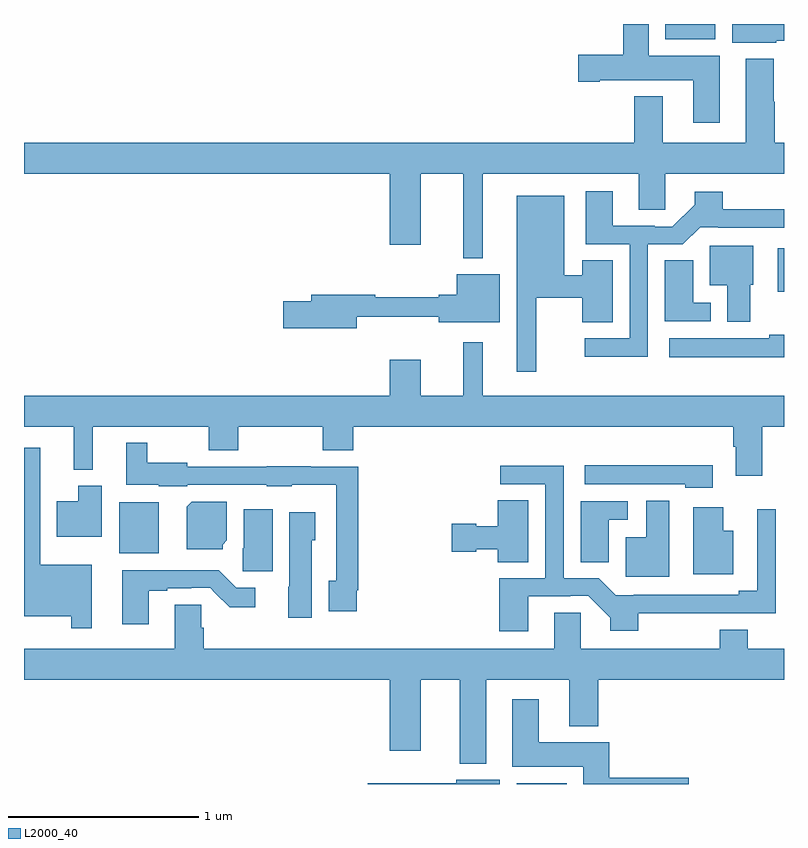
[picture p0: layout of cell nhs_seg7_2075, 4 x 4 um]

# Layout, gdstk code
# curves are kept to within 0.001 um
import gdstk
lib = gdstk.Library(unit=1e-6, precision=1e-09)
def R(c, l, rs):  # rectangles x0, y0, x1, y1
    for r in rs: c.add(gdstk.rectangle(r[:2], r[2:], *l))
def P(c, l, *ps):  # polygons
    for p in ps: c.add(gdstk.Polygon(p, *l))
L2000_40 = (2000, 40)

nhs_seg7_2075 = lib.new_cell('nhs_seg7_2075')
R(nhs_seg7_2075, L2000_40, [(249.593,1068,249.856,1068.004), (247.502,1069.214,247.708,1069.484), (250.967,1070.591,251,1070.821), (250.376,1071.92,250.639,1072)])
P(nhs_seg7_2075, L2000_40, [(250.663,1071.832),(250.288,1071.832),(250.288,1072),(250.154,1072),(250.154,1071.839),(249.918,1071.839),(249.918,1071.697),(250.03,1071.697),(250.03,1071.704),(250.523,1071.704),(250.523,1071.48),(250.663,1071.48)],
  [(250.96,1071.913),(251,1071.913),(251,1072),(250.727,1072),(250.727,1071.902),(250.96,1071.902)],
  [(250.235,1071.022),(250.374,1071.022),(250.374,1071.212),(251,1071.212),(251,1071.376),(250.952,1071.376),(250.952,1071.591),(250.947,1071.591),(250.947,1071.817),(250.799,1071.817),(250.799,1071.376),(250.363,1071.376),(250.363,1071.619),(250.211,1071.619),(250.211,1071.376),(247,1071.376),(247,1071.212),(248.924,1071.212),(248.924,1070.838),(249.088,1070.838),(249.088,1071.212),(249.311,1071.212),(249.311,1070.768),(249.415,1070.768),(249.415,1071.212),(250.235,1071.212)],
  [(250.284,1070.841),(250.468,1070.841),(250.558,1070.931),(250.654,1070.931),(250.654,1070.928),(251,1070.928),(251,1071.026),(250.677,1071.026),(250.677,1071.118),(250.529,1071.118),(250.529,1071.05),(250.413,1070.934),(250.319,1070.934),(250.319,1070.937),(250.099,1070.937),(250.099,1071.121),(249.956,1071.121),(249.956,1070.841),(250.188,1070.841),(250.188,1070.346),(249.951,1070.346),(249.951,1070.249),(250.284,1070.249)],
  [(249.697,1070.56),(249.938,1070.56),(249.938,1070.431),(250.099,1070.431),(250.099,1070.756),(249.938,1070.756),(249.938,1070.677),(249.844,1070.677),(249.844,1071.097),(249.593,1071.097),(249.593,1070.169),(249.697,1070.169)],
  [(250.822,1070.628),(250.837,1070.628),(250.837,1070.833),(250.61,1070.833),(250.61,1070.624),(250.7,1070.624),(250.7,1070.432),(250.822,1070.432)],
  [(250.615,1070.532),(250.522,1070.532),(250.522,1070.756),(250.373,1070.756),(250.373,1070.436),(250.615,1070.436)],
  [(248.752,1070.458),(249.182,1070.458),(249.182,1070.429),(249.505,1070.429),(249.505,1070.683),(249.278,1070.683),(249.278,1070.576),(249.182,1070.576),(249.182,1070.561),(248.848,1070.561),(248.848,1070.576),(248.513,1070.576),(248.513,1070.54),(248.364,1070.54),(248.364,1070.398),(248.752,1070.398)],
  [(251,1070.365),(250.923,1070.365),(250.923,1070.347),(250.395,1070.347),(250.395,1070.246),(251,1070.246)],
  [(250.885,1069.88),(251,1069.88),(251,1070.044),(249.415,1070.044),(249.415,1070.326),(249.311,1070.326),(249.311,1070.044),(249.088,1070.044),(249.088,1070.233),(248.924,1070.233),(248.924,1070.044),(247,1070.044),(247,1069.88),(247.262,1069.88),(247.262,1069.655),(247.361,1069.655),(247.361,1069.88),(247.972,1069.88),(247.972,1069.756),(248.127,1069.756),(248.127,1069.88),(248.572,1069.88),(248.572,1069.756),(248.732,1069.756),(248.732,1069.88),(250.733,1069.88),(250.733,1069.774),(250.745,1069.774),(250.745,1069.623),(250.885,1069.623)],
  [(248.752,1069.021),(248.759,1069.021),(248.759,1069.671),(248.509,1069.671),(248.509,1069.673),(248.277,1069.673),(248.277,1069.671),(247.86,1069.671),(247.86,1069.69),(247.648,1069.69),(247.648,1069.795),(247.538,1069.795),(247.538,1069.574),(247.71,1069.574),(247.71,1069.568),(247.86,1069.568),(247.86,1069.575),(248.277,1069.575),(248.277,1069.568),(248.409,1069.568),(248.409,1069.574),(248.643,1069.574),(248.643,1069.07),(248.603,1069.07),(248.603,1068.909),(248.752,1068.909)],
  [(247.356,1069.153),(247.085,1069.153),(247.085,1069.771),(247,1069.771),(247,1068.884),(247.248,1068.884),(247.248,1068.819),(247.356,1068.819)],
  [(250.624,1069.678),(249.951,1069.678),(249.951,1069.577),(250.479,1069.577),(250.479,1069.559),(250.624,1069.559)],
  [(249.655,1068.987),(249.875,1068.987),(249.875,1068.99),(249.969,1068.99),(250.085,1068.874),(250.085,1068.806),(250.233,1068.806),(250.233,1068.899),(250.956,1068.9),(250.956,1069.447),(250.86,1069.447),(250.86,1069.016),(250.763,1069.016),(250.763,1068.996),(250.21,1068.996),(250.21,1068.993),(250.114,1068.993),(250.024,1069.083),(249.84,1069.083),(249.84,1069.676),(249.507,1069.676),(249.507,1069.578),(249.744,1069.578),(249.744,1069.083),(249.5,1069.083),(249.5,1068.804),(249.655,1068.804)],
  [(247.408,1069.57),(247.286,1069.57),(247.286,1069.489),(247.172,1069.489),(247.172,1069.301),(247.408,1069.301)],
  [(249.655,1069.493),(249.494,1069.493),(249.494,1069.357),(249.381,1069.357),(249.381,1069.37),(249.252,1069.37),(249.252,1069.223),(249.381,1069.223),(249.381,1069.235),(249.494,1069.235),(249.494,1069.168),(249.655,1069.168)],
  [(250.396,1069.492),(250.274,1069.492),(250.274,1069.3),(250.166,1069.3),(250.166,1069.091),(250.396,1069.091)],
  [(250.078,1069.392),(250.177,1069.392),(250.177,1069.488),(249.929,1069.488),(249.929,1069.168),(250.078,1069.168)],
  [(248.046,1069.26),(248.068,1069.282),(248.068,1069.486),(247.882,1069.486),(247.856,1069.46),(247.856,1069.235),(248.046,1069.235)],
  [(250.732,1069.333),(250.681,1069.333),(250.681,1069.456),(250.523,1069.456),(250.523,1069.103),(250.732,1069.103)],
  [(248.308,1069.447),(248.156,1069.447),(248.156,1069.242),(248.152,1069.242),(248.152,1069.119),(248.308,1069.119)],
  [(248.515,1069.284),(248.533,1069.284),(248.533,1069.429),(248.396,1069.429),(248.396,1069.038),(248.39,1069.038),(248.39,1068.876),(248.515,1068.876)],
  [(247.657,1069.017),(247.753,1069.017),(247.753,1069.029),(247.88,1069.029),(247.88,1069.032),(247.98,1069.032),(248.083,1068.93),(248.218,1068.93),(248.218,1069.032),(248.118,1069.032),(248.024,1069.126),(247.517,1069.126),(247.517,1068.84),(247.657,1068.84)],
  [(249.433,1068.548),(249.869,1068.548),(249.869,1068.305),(250.022,1068.305),(250.022,1068.548),(251,1068.548),(251,1068.712),(250.81,1068.712),(250.81,1068.811),(250.663,1068.811),(250.663,1068.712),(249.93,1068.712),(249.93,1068.902),(249.791,1068.902),(249.791,1068.712),(247.946,1068.712),(247.946,1068.822),(247.932,1068.822),(247.932,1068.944),(247.793,1068.944),(247.793,1068.712),(247,1068.712),(247,1068.548),(248.924,1068.548),(248.924,1068.174),(249.088,1068.174),(249.088,1068.548),(249.293,1068.548),(249.293,1068.107),(249.433,1068.107)],
  [(250.498,1068.032),(250.079,1068.032),(250.079,1068.22),(249.709,1068.22),(249.709,1068.445),(249.569,1068.445),(249.569,1068.092),(249.944,1068.092),(249.944,1068),(250.498,1068)],
  [(249.505,1068.022),(249.276,1068.022),(249.276,1068.004),(248.808,1068.004),(248.808,1068),(249.505,1068)])

lib.write_gds('nhs_seg7_2075.gds')
